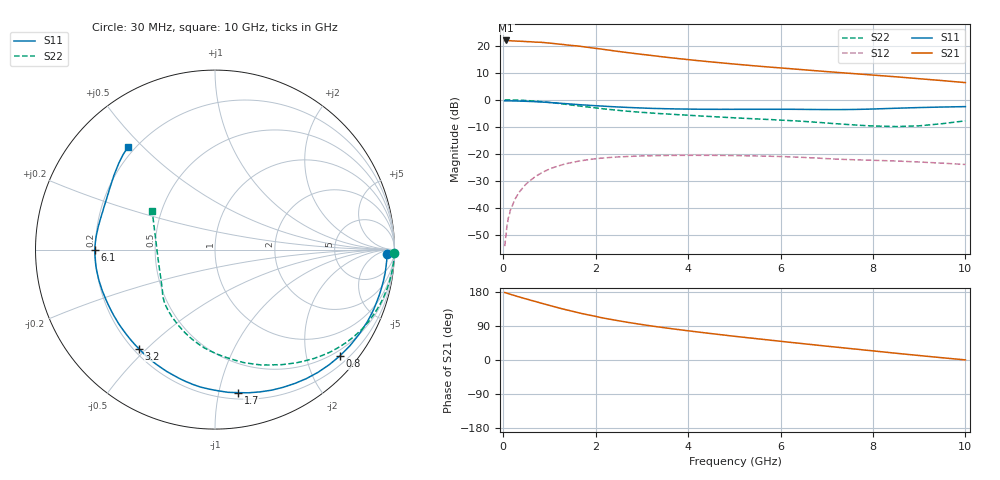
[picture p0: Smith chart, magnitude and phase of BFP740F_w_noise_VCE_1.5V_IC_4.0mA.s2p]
! Infineon Technologies  Discrete & RF Semiconductors
! BFP740F
! VCE =  1.5 V,  IC =  4.0 mA
! Common Emitter S-Parameters:  Oct 2012
# GHz  S  MA  R  50
!  f  S11  S21  S12  S22
! GHz  MAG  ANG  MAG  ANG  MAG  ANG  MAG  ANG
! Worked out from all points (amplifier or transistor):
!   99 points, 30 MHz to 10 GHz, reference 50 ohm
!   highest |S21| = 21.9 dB at 60 MHz (marker M1)
!   |S21| within 3 dB of that: start of sweep to 2.04 GHz
!   unconditionally stable (mu >= 1): 8.072 GHz to end of sweep
!   at 350 MHz: K = 0.04, MSG = 27.8 dB, |S12| = -34.0 dB
!   at 3.5 GHz: K = 0.30, MSG = 18.2 dB, |S12| = -20.5 dB
!   at 10 GHz: K = 1.25, MAG = 12.1 dB, |S12| = -23.8 dB
!   lowest NFmin = 0.36 dB at 450 MHz
!   S11 on the Smith chart (normalised r, x): 30 MHz: 33, -22; 800 MHz: 0.37, -2.67; 1.7 GHz: 0.25, -1.14; 3.2 GHz: 0.22, -0.47; 6.1 GHz: 0.20, -0.00; 10 GHz: 0.17, +0.45
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0.03  0.9592 -1.6  12.32 178.1  0.002 90.3  0.9988 -1.1
0.06  0.9578 -3.1  12.44 177.2  0.0031 83.5  0.9982 -2.2
0.11  0.9575 -5.7  12.38 175.1  0.0067 83.0  0.9971 -4.0
0.25  0.9521 -12.9  12.17 169.9  0.0145 82.3  0.9902 -9.1
0.45  0.9418 -23.0  11.95 162.7  0.0255 75.7  0.9753 -16.2
0.8  0.9136 -40.5  11.53 150.7  0.0435 64.8  0.9306 -28.5
1  0.8927 -50.0  11.12 144.1  0.0528 58.6  0.8962 -35.3
1.2  0.8683 -59.2  10.68 137.5  0.0606 52.7  0.8575 -41.9
1.6  0.8192 -76.9  9.871 125.5  0.0731 42.4  0.7785 -54.0
1.7  0.8071 -80.9  9.619 122.7  0.0756 39.9  0.7595 -56.8
2.1  0.7702 -96.0  8.689 112.3  0.0836 31.1  0.6926 -68.1
2.4  0.7447 -105.5  7.987 105.6  0.0875 25.5  0.6515 -75.4
2.7  0.7233 -114.4  7.41 99.3  0.0902 20.7  0.6158 -81.7
3.2  0.6961 -127.6  6.585 89.9  0.093 13.7  0.5709 -91.3
3.4  0.6893 -132.1  6.278 86.6  0.0937 11.2  0.5566 -94.7
4.1  0.6731 -146.8  5.412 75.6  0.0948 3.6  0.5137 -104.7
5.1  0.669 -164.9  4.488 61.3  0.0936 -5.6  0.4612 -117.8
6.1  0.6698 -179.8  3.814 48.1  0.0895 -13.7  0.4185 -130.5
6.7  0.6635 170.7  3.471 40.4  0.0851 -18.0  0.39 -138.0
7.5  0.6631 158.1  3.081 30.3  0.0789 -20.7  0.3488 -149.2
8.5  0.6994 143.5  2.656 17.8  0.0744 -24.2  0.3213 -173.1
10  0.7495 130.3  2.077 0.3  0.0642 -28.4  0.41 148.5
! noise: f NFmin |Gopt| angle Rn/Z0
0.45  0.36  0.43  8  0.21
0.9  0.42  0.43  14  0.18
1.5  0.5  0.42  25  0.15
1.9  0.56  0.41  34  0.14
2.4  0.63  0.38  43  0.14
3.5  0.79  0.35  66  0.13
5.5  1.07  0.25  111  0.22
10  1.64  0.44  -130  0.08
